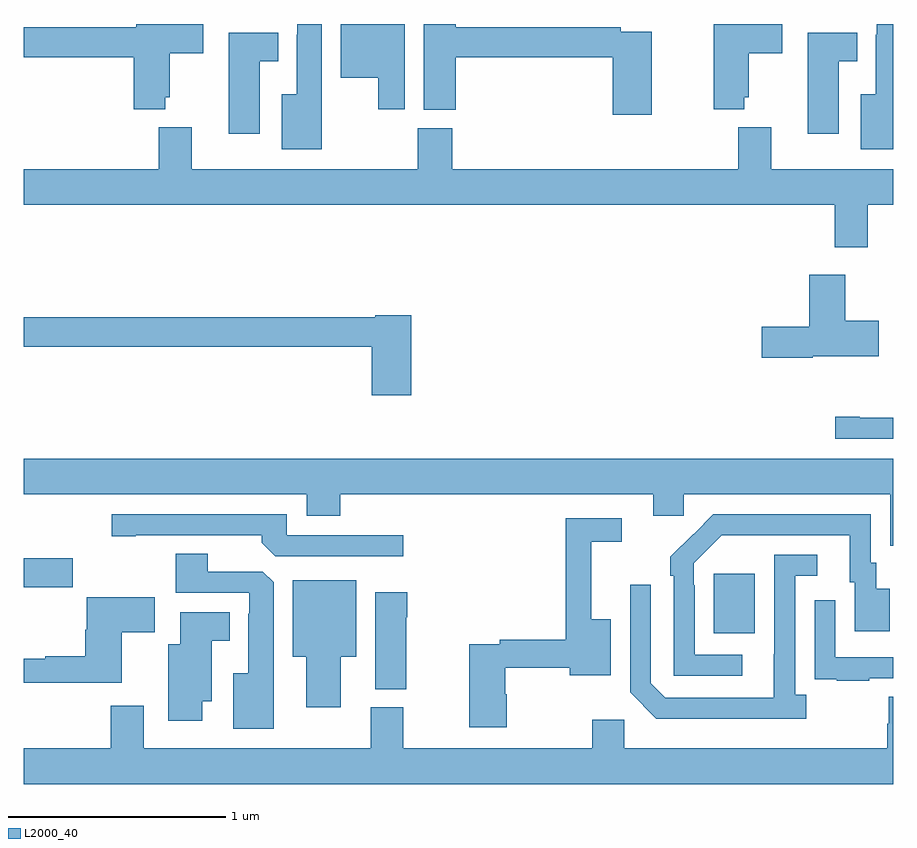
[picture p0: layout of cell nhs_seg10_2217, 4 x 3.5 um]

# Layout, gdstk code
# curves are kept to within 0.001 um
import gdstk
lib = gdstk.Library(unit=1e-6, precision=1e-09)
def R(c, l, rs):  # rectangles x0, y0, x1, y1
    for r in rs: c.add(gdstk.rectangle(r[:2], r[2:], *l))
def P(c, l, *ps):  # polygons
    for p in ps: c.add(gdstk.Polygon(p, *l))
L2000_40 = (2000, 40)

nhs_seg10_2217 = lib.new_cell('nhs_seg10_2217')
R(nhs_seg10_2217, L2000_40, [(232.175,1279.697,232.363,1279.972), (229,1279.909,229.225,1280.043)])
P(nhs_seg10_2217, L2000_40, [(233,1282.5),(232.923,1282.5),(232.923,1282.451),(232.919,1282.451),(232.919,1282.177),(232.85,1282.177),(232.85,1281.923),(233,1281.923)],
  [(229.65,1282.163),(229.672,1282.163),(229.672,1282.366),(229.825,1282.366),(229.825,1282.5),(229.517,1282.5),(229.517,1282.484),(229,1282.484),(229,1282.348),(229.505,1282.348),(229.505,1282.109),(229.65,1282.109)],
  [(230.752,1282.5),(230.459,1282.5),(230.459,1282.253),(230.63,1282.253),(230.63,1282.107),(230.752,1282.107)],
  [(231.888,1282.464),(231.746,1282.464),(231.746,1282.484),(230.987,1282.484),(230.987,1282.5),(230.84,1282.5),(230.84,1282.105),(230.987,1282.105),(230.987,1282.348),(231.71,1282.348),(231.71,1282.083),(231.888,1282.083)],
  [(232.314,1282.163),(232.336,1282.163),(232.336,1282.366),(232.489,1282.366),(232.489,1282.5),(232.174,1282.5),(232.174,1282.109),(232.314,1282.109)],
  [(230.371,1282.5),(230.259,1282.5),(230.259,1282.451),(230.255,1282.451),(230.255,1282.177),(230.186,1282.177),(230.186,1281.923),(230.371,1281.923)],
  [(230.086,1282.328),(230.17,1282.328),(230.17,1282.459),(229.943,1282.459),(229.943,1281.996),(230.086,1281.996)],
  [(232.75,1282.328),(232.834,1282.328),(232.834,1282.459),(232.607,1282.459),(232.607,1281.996),(232.75,1281.996)],
  [(232.882,1281.668),(233,1281.668),(233,1281.832),(232.438,1281.832),(232.438,1282.024),(232.286,1282.024),(232.286,1281.832),(230.972,1281.832),(230.972,1282.02),(230.812,1282.02),(230.812,1281.832),(229.774,1281.832),(229.774,1282.024),(229.622,1282.024),(229.622,1281.832),(229,1281.832),(229,1281.668),(232.73,1281.668),(232.73,1281.474),(232.882,1281.474)],
  [(232.629,1280.972),(232.933,1280.972),(232.933,1281.135),(232.78,1281.135),(232.78,1281.346),(232.613,1281.346),(232.613,1281.107),(232.395,1281.107),(232.395,1280.965),(232.629,1280.965)],
  [(230.783,1281.16),(230.616,1281.16),(230.616,1281.152),(229,1281.152),(229,1281.016),(230.6,1281.016),(230.6,1280.793),(230.783,1280.793)],
  [(233,1280.688),(232.846,1280.688),(232.846,1280.693),(232.734,1280.693),(232.734,1280.592),(233,1280.592)],
  [(233,1280.5),(229,1280.5),(229,1280.336),(230.303,1280.336),(230.303,1280.237),(230.456,1280.237),(230.456,1280.336),(231.896,1280.336),(231.896,1280.238),(232.035,1280.238),(232.035,1280.336),(232.985,1280.336),(232.985,1280.101),(233,1280.101)],
  [(232.306,1279.599),(232.086,1279.599),(232.086,1279.919),(232.083,1279.919),(232.083,1280.019),(232.212,1280.148),(232.799,1280.148),(232.799,1279.932),(232.823,1279.932),(232.823,1279.707),(232.984,1279.707),(232.984,1279.903),(232.921,1279.903),(232.921,1280.022),(232.896,1280.022),(232.896,1280.244),(232.172,1280.244),(231.975,1280.049),(231.975,1279.961),(231.99,1279.961),(231.99,1279.503),(232.306,1279.503)],
  [(230.746,1280.148),(230.211,1280.148),(230.211,1280.244),(229.404,1280.244),(229.404,1280.143),(229.516,1280.143),(229.516,1280.148),(230.096,1280.148),(230.096,1280.114),(230.157,1280.052),(230.746,1280.052)],
  [(231.222,1279.416),(231.214,1279.416),(231.214,1279.539),(231.512,1279.539),(231.512,1279.505),(231.7,1279.505),(231.7,1279.762),(231.611,1279.762),(231.611,1280.118),(231.751,1280.118),(231.751,1280.226),(231.493,1280.226),(231.493,1279.667),(231.19,1279.667),(231.19,1279.647),(231.049,1279.647),(231.049,1279.266),(231.222,1279.266)],
  [(230.149,1279.931),(230.1,1279.98),(229.846,1279.98),(229.846,1280.063),(229.699,1280.063),(229.699,1279.884),(230.037,1279.884),(230.037,1279.787),(230.033,1279.787),(230.033,1279.513),(229.964,1279.513),(229.964,1279.259),(230.149,1279.259)],
  [(232.6,1279.414),(232.548,1279.414),(232.548,1279.962),(232.651,1279.962),(232.651,1280.058),(232.452,1280.058),(232.451,1279.401),(231.951,1279.401),(231.885,1279.467),(231.885,1279.921),(231.789,1279.921),(231.789,1279.425),(231.91,1279.304),(232.6,1279.304)],
  [(230.458,1279.589),(230.53,1279.589),(230.53,1279.942),(230.237,1279.942),(230.237,1279.589),(230.3,1279.589),(230.3,1279.356),(230.458,1279.356)],
  [(230.76,1279.772),(230.765,1279.772),(230.765,1279.885),(230.618,1279.885),(230.618,1279.441),(230.76,1279.441)],
  [(229.45,1279.702),(229.603,1279.702),(229.603,1279.864),(229.446,1279.864),(229.446,1279.862),(229.29,1279.862),(229.29,1279.713),(229.283,1279.713),(229.283,1279.591),(229.099,1279.591),(229.099,1279.581),(229,1279.581),(229,1279.47),(229.45,1279.47)],
  [(232.889,1279.491),(233,1279.491),(233,1279.587),(232.734,1279.587),(232.734,1279.849),(232.638,1279.849),(232.638,1279.594),(232.639,1279.594),(232.639,1279.485),(232.741,1279.485),(232.741,1279.479),(232.889,1279.479)],
  [(229.822,1279.385),(229.864,1279.385),(229.864,1279.664),(229.948,1279.664),(229.948,1279.795),(229.721,1279.795),(229.721,1279.648),(229.664,1279.648),(229.664,1279.296),(229.822,1279.296)],
  [(233,1279.406),(232.978,1279.406),(232.978,1279.281),(232.973,1279.281),(232.973,1279.168),(231.762,1279.168),(231.762,1279.3),(231.616,1279.3),(231.616,1279.168),(230.745,1279.168),(230.745,1279.356),(230.597,1279.356),(230.597,1279.168),(229.552,1279.168),(229.552,1279.363),(229.4,1279.363),(229.4,1279.168),(229,1279.168),(229,1279.004),(233,1279.004)])

lib.write_gds('nhs_seg10_2217.gds')
